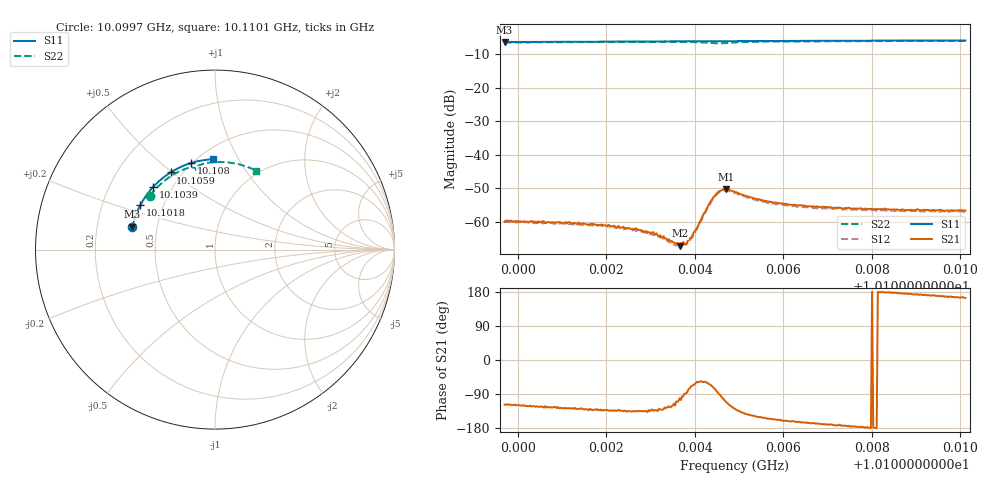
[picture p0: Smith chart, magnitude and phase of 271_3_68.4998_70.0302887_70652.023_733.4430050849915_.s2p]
#  HZ  S  RI  R  50.00
! Rohde & Schwarz Vector Network Analyzer
! Rohde-Schwarz,ZNB20-2Port,1311601062101988,3.16
! Created: UTC 3/20/2024, 5:00:46 PM
! freq[Hz]  re:S11  im:S11  re:S21  im:S21  re:S12  im:S12  re:S22  im:S22
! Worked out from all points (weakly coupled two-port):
!   401 points, 10.0997 GHz to 10.1101 GHz, reference 50 ohm
!   highest |S21| = -50.43 dB at 10.1047 GHz (marker M1); lowest = -67.2 dB at 10.1037 GHz (marker M2)
!   lowest |S11| = -6.4 dB at 10.0997 GHz (marker M3), VSWR 2.83, Z = 18 + j5.96 ohm
!   |S11| at or under -10 dB: nowhere
!   |S22| runs from -6.8 to -6.1 dB; largest |S21 - S12| = 0.00029
!   S11 on the Smith chart (normalised r, x): 10.0997 GHz: 0.36, +0.12; 10.1018 GHz: 0.37, +0.24; 10.1039 GHz: 0.39, +0.36; 10.1059 GHz: 0.43, +0.49; 10.108 GHz: 0.49, +0.64; 10.1101 GHz: 0.59, +0.79
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1.00997e10  -0.4599 0.128  -0.000464 -0.000879  -0.000384 -0.000905  -0.3616 0.3004
1.010145e10  -0.4258 0.2286  -0.000564 -0.000732  -0.000507 -0.000725  -0.2839 0.3816
1.010178e10  -0.4167 0.2469  -0.000566 -0.000682  -0.000528 -0.000677  -0.2665 0.3951
1.010246e10  -0.3959 0.2826  -0.000569 -0.000542  -0.000512 -0.000612  -0.2297 0.4198
1.010272e10  -0.3872 0.2958  -0.000534 -0.000531  -0.000482 -0.000555  -0.2146 0.4282
1.010319e10  -0.3705 0.3188  -0.000377 -0.000466  -0.000351 -0.00048  -0.1863 0.442
1.010353e10  -0.3575 0.3346  -0.000205 -0.000443  -0.00019 -0.000412  -0.1644 0.4505
1.010366e10  -0.3523 0.3407  -8.19e-05 -0.000429  -8e-05 -0.000447  -0.1555 0.4532
1.010376e10  -0.3481 0.3453  2.81e-06 -0.000463  5.05e-06 -0.000456  -0.1482 0.4552
1.010387e10  -0.3439 0.3499  0.000134 -0.000531  0.000162 -0.000488  -0.1406 0.4565
1.0104e10  -0.3385 0.3558  0.000315 -0.000641  0.000358 -0.000589  -0.1308 0.4574
1.010428e10  -0.3262 0.368  0.000785 -0.00141  0.000892 -0.00129  -0.1096 0.4528
1.010441e10  -0.3204 0.3733  0.000719 -0.00215  0.000836 -0.00201  -0.1043 0.4472
1.010457e10  -0.3135 0.3798  -0.000113 -0.00285  0.000105 -0.00278  -0.1056 0.4432
1.01047e10  -0.3076 0.3849  -0.00102 -0.00283  -0.00075 -0.00277  -0.1074 0.4478
1.010491e10  -0.2981 0.393  -0.00174 -0.00216  -0.00152 -0.00218  -0.1012 0.4599
1.010538e10  -0.2758 0.4106  -0.00188 -0.00114  -0.0017 -0.00121  -0.0711 0.4764
1.010595e10  -0.247 0.4301  -0.00174 -0.00066  -0.00159 -0.000792  -0.0324 0.485
1.010665e10  -0.2101 0.4512  -0.0016 -0.000384  -0.00152 -0.00049  0.014 0.4886
1.010803e10  -0.133 0.4824  -0.00154 -6.5e-05  -0.00146 -0.000179  0.1027 0.4814
1.010839e10  -0.1115 0.4884  -0.0015 4.68e-05  -0.00145 -8.38e-05  0.1255 0.4769
1.011011e10  -0.00911 0.5035  -0.00139 0.000414  -0.00138 0.000222  0.2284 0.4403
